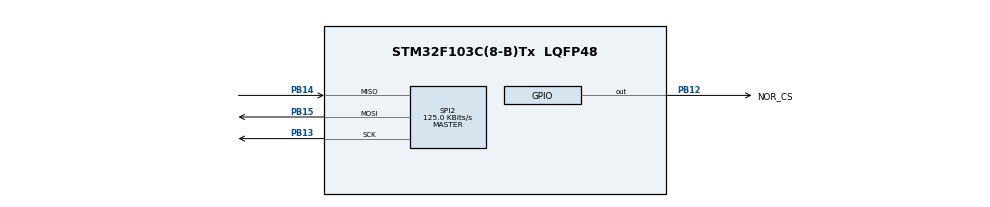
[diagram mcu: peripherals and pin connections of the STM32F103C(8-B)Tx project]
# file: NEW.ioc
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Mcu.Family=STM32F1
Mcu.Name=STM32F103C(8-B)Tx
Mcu.Package=LQFP48
NVIC.PriorityGroup=NVIC_PRIORITYGROUP_4
PA5.Signal=SPI1_SCK
PA6.Signal=SPI1_MISO
PB12.GPIO_Label=NOR_CS
PB12.Signal=GPIO_Output
PB13.Mode=Full_Duplex_Master
PB13.Signal=SPI2_SCK
PB14.Mode=Full_Duplex_Master
PB14.Signal=SPI2_MISO
PB15.Mode=Full_Duplex_Master
PB15.Signal=SPI2_MOSI
ProjectManager.HeapSize=0x100
ProjectManager.StackSize=0x100
ProjectManager.TargetToolchain=MDK-ARM V5.32
RCC.AHBFreq_Value=8000000
RCC.APB1Freq_Value=8000000
RCC.APB1TimFreq_Value=8000000
RCC.APB2Freq_Value=8000000
RCC.APB2TimFreq_Value=8000000
RCC.HCLKFreq_Value=8000000
RCC.PLLMUL=RCC_PLL_MUL12
RCC.RCC_MCOSource=RCC_MCO1SOURCE_PLLCLK
RCC.SYSCLKFreq_VALUE=8000000
RCC.USBFreq_Value=48000000
SPI2.BaudRatePrescaler=SPI_BAUDRATEPRESCALER_64
SPI2.CalculateBaudRate=125.0 KBits/s
SPI2.Direction=SPI_DIRECTION_2LINES
SPI2.Mode=SPI_MODE_MASTER
SPI2.VirtualType=VM_MASTER
VP_SYS_VS_ND.Mode=No_Debug
board=custom

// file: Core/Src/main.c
/* USER CODE BEGIN Header */
/**
  ******************************************************************************
  * @file           : main.c
  * @brief          : Main program body
  ******************************************************************************
  * @attention
  *
  * Copyright (c) 2023 STMicroelectronics.
  * All rights reserved.
  *
  * This software is licensed under terms that can be found in the LICENSE file
  * in the root directory of this software component.
  * If no LICENSE file comes with this software, it is provided AS-IS.
  *
  ******************************************************************************
  */
/* USER CODE END Header */
#include "main.h"

/* USER CODE BEGIN Includes */
#include "string.h"
#include "flash.h"
/* USER CODE END Includes */

/* USER CODE BEGIN PTD */
typedef enum { FAILED = 0, PASSED = !FAILED} TestStatus;
typedef void(*pFunction)(void);
void jump_to_start(void);
/* USER CODE END PTD */

/* USER CODE BEGIN PD */
#define WriteEnable             0x06
#define WtiteDisable            0x04
#define Read_JedecID            0x9f
#define Read_UniqueID           0x4b
#define Read_ManufatureID       0x90
#define Read_DeviceID           0xab
#define Read_StatusRegister_1   0x05
#define Read_StatusRegister_2   0x35
#define Read_StatusRegister_3   0x15
#define Write_StatusRegister    0x01
#define Write_StatusRegister_1  0x01
#define Write_StatusRegister_2  0x31
#define Write_StatusRegister_3  0x11
#define PageProgram             0x02
#define PageProgram_256         0x12
#define ReadData                0x03
#define FastRead                0x0b
#define FastRead_256            0x0c
#define Erase_Chip              0xc7
#define Erase_Block_64_256      0xdc
#define Erase_Block_64          0xd8
#define Erase_Block_32          0x52
#define Erase_Sector            0x20
#define Erase_Sector_256        0x21
#define Erase_Suspend           0x75
#define Erase_Resume            0x7h
#define PowerDown               0xb9
#define PowerDown_Release       0xab
#define Reset_Enable						0x66
#define Reset_Device						0x99
#define Global_Unlock						0x98
#define SR_Unlock								0x50

#define SPI_CS_PIN  						LL_GPIO_PIN_12
#define SPI_CS_PORT 						GPIOB
#define SPI_HANDLE 							SPI2
#define SPI_TIMEOUT 						1000
#define SPI_RETRY   						10

#define W25qxx_Delay(delay) 		LL_mDelay(delay)
#define w25qxx_SectorSize				0x1000  // 4096
#define w25qxx_PageSize     		0x0100  // 256
#define settings_sector					1

#define FLASH_PAGE_SIZE								1024
#define FLASH_Base_Address						0x8000000												// Bootloader start address
#define Main_Program_Base_Address   	FLASH_Base_Address + 0x00001000 // after 4KB for bootloader space
#define Main_Program_End_Address			FLASH_Base_Address + 0x00010000 // after 64KB flash size for STM32F103C8
#define ApplicationAddress    				Main_Program_Base_Address
/* USER CODE END PD */

/* USER CODE BEGIN PV */
pFunction Jump_To_Application;
uint32_t  JumpAddress;
uint32_t  app_new_size=0;
uint32_t  app_new_checksum=0;
uint8_t 	w25qxx_Lock = 0;
uint8_t 	dataBuffer[w25qxx_SectorSize]; //4096 Byte Buffer
uint32_t  current_sector=0;
uint32_t  current_base_byte=0;
uint32_t  current_byte=0;
uint32_t  current_range_byte=0;
uint32_t  crc32=0;
/* USER CODE END PV */

void SystemClock_Config(void);
static void MX_GPIO_Init(void);
static void MX_SPI2_Init(void);
/* USER CODE BEGIN PFP */
int W25qxx_Init(void);
void W25qxx_ReadPage(uint8_t *pBuffer, uint32_t Page_Address, uint32_t OffsetInByte, uint32_t NumByteToRead_up_to_PageSize);
void W25qxx_ReadSector(uint8_t *pBuffer, uint32_t Sector_Address, uint32_t OffsetInByte, uint32_t NumByteToRead_up_to_SectorSize);
/* USER CODE END PFP */

/* USER CODE BEGIN 0 */
uint32_t CalculateCRC32(uint32_t* inputData, uint32_t size)
{
	// CRC32 format is similar to CRC-32/MPEG-2
	// STM32F1 just do CRC32 without any polynomial settings
	// size must be : sizeof(inputData)/sizeof(uint32_t)
	uint32_t crcValue;
	///////////////Enable Hardware CRC unit//////////////////
  // Enable CRC clock
  LL_AHB1_GRP1_EnableClock(LL_AHB1_GRP1_PERIPH_CRC);
  // Reset CRC calculation unit
  LL_CRC_ResetCRCCalculationUnit(CRC);
  // Calculate CRC for the input data
  for (int i = 0; i < size; i++)
  {
    LL_CRC_FeedData32(CRC,inputData[i]);
  }
  // Get the calculated CRC value
  crcValue = LL_CRC_ReadData32(CRC);
	///////////////Disable Hardware CRC unit//////////////////
	LL_AHB1_GRP1_DisableClock(LL_AHB1_GRP1_PERIPH_CRC);

	return crcValue;
}

/* USER CODE END 0 */

int main(void)
{
  /* USER CODE BEGIN 1 */
	uint32_t tmp32;
	uint32_t crc32;
	uint32_t sectors;
	uint32_t Flash_Address;
	int i;
  /* USER CODE END 1 */

  /* MCU Configuration--------------------------------------------------------*/

  /* Reset of all peripherals, Initializes the Flash interface and the Systick. */
  LL_APB2_GRP1_EnableClock(LL_APB2_GRP1_PERIPH_AFIO);
  LL_APB1_GRP1_EnableClock(LL_APB1_GRP1_PERIPH_PWR);

  /* System interrupt init*/
  NVIC_SetPriorityGrouping(NVIC_PRIORITYGROUP_4);

  /* SysTick_IRQn interrupt configuration */
  NVIC_SetPriority(SysTick_IRQn, NVIC_EncodePriority(NVIC_GetPriorityGrouping(),15, 0));

  /** DISABLE: JTAG-DP Disabled and SW-DP Disabled
  */
  //LL_GPIO_AF_DisableRemap_SWJ();

  /* Configure the system clock */
  SystemClock_Config();

  /* Initialize all configured peripherals */
  MX_GPIO_Init();
  MX_SPI2_Init();
	LL_SPI_Enable(SPI_HANDLE);
  /* USER CODE BEGIN 2 */

	if(W25qxx_Init()== 1)
	{
		W25qxx_ReadSector(dataBuffer,settings_sector,0,w25qxx_PageSize);
		memcpy(&app_new_checksum,&dataBuffer[252],4); // check end double words of first page for new checksu
		//check checksum is not 0xFFFFFFFF to do not update again if it set high
		//if update finished , main program will set this bytes at first to prevent updating again
		if(app_new_checksum!=0xFFFFFFFF)
		{
			//read new firmware size
			memcpy(&app_new_size,&dataBuffer[248],4);
			//check size is valid
			if(app_new_size > 0 && app_new_size != 0xFFFFFFFF)
			{
				//calculate how many 4KB sectors to read
				sectors = (app_new_size / 4096);
				if(app_new_size%4096>0){sectors++;}
				sectors = sectors + 2; // add sector offset
				//

				//Enable & Reset CRC
				LL_AHB1_GRP1_EnableClock(LL_AHB1_GRP1_PERIPH_CRC);
				LL_CRC_ResetCRCCalculationUnit(CRC);

				for(tmp32 = 2;tmp32 < sectors;tmp32++)
				{
						//Read 4KB Sector
						W25qxx_ReadSector(dataBuffer,sectors,0,w25qxx_SectorSize);

						//calculate CRC
					  for (i = 0; i < sizeof(dataBuffer) / sizeof(uint32_t); i++)
						{
							LL_CRC_FeedData32(CRC,dataBuffer[i]);
						}
				}

				// Get the calculated CRC value
				crc32 = LL_CRC_ReadData32(CRC);
				///////////////Disable Hardware CRC unit//////////////////
				LL_AHB1_GRP1_DisableClock(LL_AHB1_GRP1_PERIPH_CRC);

				//compare calculated CRC with saved CRC in Settings Sector
				if(crc32 == app_new_checksum)
				{
					//Unlock the FLASH
					FEE_Init();

					//Erase the FLASH
					FLASH_Erase(Main_Program_Base_Address,Main_Program_End_Address);

					//do update with 1KB pages
					Flash_Address = Main_Program_Base_Address;
					for(tmp32 = 2;tmp32 < sectors;tmp32++)
					{
							//Read 4KB Sector
							W25qxx_ReadSector(dataBuffer,sectors,0,w25qxx_SectorSize);

							//Write on the Flash
							for (i = 0; i < 4; i++)
							{
								Flash_WriteMultiple(dataBuffer,Flash_Address,&dataBuffer[(i*1024)],1024);
								//check for exit in case of reach to firmware size
								Flash_Address+= 1024;
								if((Flash_Address-Main_Program_Base_Address) >= app_new_size)
								{
									tmp32 = sectors + 1; // make a condition to exit first for loop
									break;
								}
							}
					}

					//Lock the Flash
					FLASH_Locked();
				}
			}
		}
	}

	// Jump into main code
	jump_to_start();

  /* USER CODE END 2 */

  /* Infinite loop */
  while (1)
  {

  }
}

void SystemClock_Config(void)
{
  LL_FLASH_SetLatency(LL_FLASH_LATENCY_0);
  while(LL_FLASH_GetLatency()!= LL_FLASH_LATENCY_0)
  {
  }
  LL_RCC_HSI_SetCalibTrimming(16);
  LL_RCC_HSI_Enable();

   /* Wait till HSI is ready */
  while(LL_RCC_HSI_IsReady() != 1)
  {

  }
  LL_RCC_SetAHBPrescaler(LL_RCC_SYSCLK_DIV_1);
  LL_RCC_SetAPB1Prescaler(LL_RCC_APB1_DIV_1);
  LL_RCC_SetAPB2Prescaler(LL_RCC_APB2_DIV_1);
  LL_RCC_SetSysClkSource(LL_RCC_SYS_CLKSOURCE_HSI);

   /* Wait till System clock is ready */
  while(LL_RCC_GetSysClkSource() != LL_RCC_SYS_CLKSOURCE_STATUS_HSI)
  {

  }
  LL_Init1msTick(8000000);
  LL_SetSystemCoreClock(8000000);
}

static void MX_SPI2_Init(void)
{

  LL_SPI_InitTypeDef SPI_InitStruct = {0};

  LL_GPIO_InitTypeDef GPIO_InitStruct = {0};

  /* Peripheral clock enable */
  LL_APB1_GRP1_EnableClock(LL_APB1_GRP1_PERIPH_SPI2);

  LL_APB2_GRP1_EnableClock(LL_APB2_GRP1_PERIPH_GPIOB);
  /**SPI2 GPIO Configuration
  PB13   ------> SPI2_SCK
  PB14   ------> SPI2_MISO
  PB15   ------> SPI2_MOSI
  */
  GPIO_InitStruct.Pin = LL_GPIO_PIN_13|LL_GPIO_PIN_15;
  GPIO_InitStruct.Mode = LL_GPIO_MODE_ALTERNATE;
  GPIO_InitStruct.Speed = LL_GPIO_SPEED_FREQ_HIGH;
  GPIO_InitStruct.OutputType = LL_GPIO_OUTPUT_PUSHPULL;
  LL_GPIO_Init(GPIOB, &GPIO_InitStruct);

  GPIO_InitStruct.Pin = LL_GPIO_PIN_14;
  GPIO_InitStruct.Mode = LL_GPIO_MODE_FLOATING;
  LL_GPIO_Init(GPIOB, &GPIO_InitStruct);

  /* SPI2 parameter configuration*/
  SPI_InitStruct.TransferDirection = LL_SPI_FULL_DUPLEX;
  SPI_InitStruct.Mode = LL_SPI_MODE_MASTER;
  SPI_InitStruct.DataWidth = LL_SPI_DATAWIDTH_8BIT;
  SPI_InitStruct.ClockPolarity = LL_SPI_POLARITY_LOW;
  SPI_InitStruct.ClockPhase = LL_SPI_PHASE_1EDGE;
  SPI_InitStruct.NSS = LL_SPI_NSS_SOFT;
  SPI_InitStruct.BaudRate = LL_SPI_BAUDRATEPRESCALER_DIV64;
  SPI_InitStruct.BitOrder = LL_SPI_MSB_FIRST;
  SPI_InitStruct.CRCCalculation = LL_SPI_CRCCALCULATION_DISABLE;
  SPI_InitStruct.CRCPoly = 10;
  LL_SPI_Init(SPI2, &SPI_InitStruct);

}

static void MX_GPIO_Init(void)
{
  LL_GPIO_InitTypeDef GPIO_InitStruct = {0};

  /* GPIO Ports Clock Enable */
  LL_APB2_GRP1_EnableClock(LL_APB2_GRP1_PERIPH_GPIOA);
  LL_APB2_GRP1_EnableClock(LL_APB2_GRP1_PERIPH_GPIOB);

  /**/
  LL_GPIO_ResetOutputPin(NOR_CS_GPIO_Port, NOR_CS_Pin);

  /**/
  GPIO_InitStruct.Pin = LL_GPIO_PIN_5|LL_GPIO_PIN_6;
  GPIO_InitStruct.Mode = LL_GPIO_MODE_ALTERNATE;
  GPIO_InitStruct.Speed = LL_GPIO_SPEED_FREQ_HIGH;
  GPIO_InitStruct.OutputType = LL_GPIO_OUTPUT_PUSHPULL;
  LL_GPIO_Init(GPIOA, &GPIO_InitStruct);

  /**/
  GPIO_InitStruct.Pin = NOR_CS_Pin;
  GPIO_InitStruct.Mode = LL_GPIO_MODE_OUTPUT;
  GPIO_InitStruct.Speed = LL_GPIO_SPEED_FREQ_LOW;
  GPIO_InitStruct.OutputType = LL_GPIO_OUTPUT_PUSHPULL;
  LL_GPIO_Init(NOR_CS_GPIO_Port, &GPIO_InitStruct);

}

/* USER CODE BEGIN 4 */

void jump_to_start(void)
{

	// If Program has been written
	if (((*(__IO uint32_t*)ApplicationAddress) & 0x2FFE0000 ) == 0x20000000)
		{

			//Make sure, the CPU is in privileged mode.
			//if( CONTROL_nPRIV_Msk & __get_CONTROL( ) )
			//{  // not in privileged mode
			//	EnablePrivilegedMode();
			//}
			//Disable all enabled interrupts in NVIC.

			NVIC->ICER[ 0 ] = 0xFFFFFFFF ;
			NVIC->ICER[ 1 ] = 0xFFFFFFFF ;
			NVIC->ICER[ 2 ] = 0xFFFFFFFF ;
			NVIC->ICER[ 3 ] = 0xFFFFFFFF ;
			NVIC->ICER[ 4 ] = 0xFFFFFFFF ;
			NVIC->ICER[ 5 ] = 0xFFFFFFFF ;
			NVIC->ICER[ 6 ] = 0xFFFFFFFF ;
			NVIC->ICER[ 7 ] = 0xFFFFFFFF ;

			//Clear all pending interrupt requests in NVIC.

			NVIC->ICPR[ 0 ] = 0xFFFFFFFF ;
			NVIC->ICPR[ 1 ] = 0xFFFFFFFF ;
			NVIC->ICPR[ 2 ] = 0xFFFFFFFF ;
			NVIC->ICPR[ 3 ] = 0xFFFFFFFF ;
			NVIC->ICPR[ 4 ] = 0xFFFFFFFF ;
			NVIC->ICPR[ 5 ] = 0xFFFFFFFF ;
			NVIC->ICPR[ 6 ] = 0xFFFFFFFF ;
			NVIC->ICPR[ 7 ] = 0xFFFFFFFF ;

			//Disable SysTick and clear its exception pending bit,

			//__disable_irq();//EEEEERRRRRRROOOORRRR
			//__DSB();//EEEEERRRRRRROOOORRRR
			//__ISB();//EEEEERRRRRRROOOORRRR

			SysTick->CTRL=0;
			SysTick->LOAD=0;
			SysTick->VAL=0;
			///////////////////////__set_PRIMASK(1);/////////////////////////////EEEEERRRRRRROOOORRRR

			SCB->ICSR |= SCB_ICSR_PENDSTCLR_Msk;

			//Disable individual fault handlers if the bootloader used them.
			SCB->SHCSR &= ~( SCB_SHCSR_USGFAULTENA_Msk | SCB_SHCSR_BUSFAULTENA_Msk | SCB_SHCSR_MEMFAULTENA_Msk );
			//Activate the MSP, if the core is found to currently run with the PSP.
			if(CONTROL_SPSEL_Msk& __get_CONTROL())
			{  // MSP is not active
				__set_CONTROL( __get_CONTROL( ) & ~CONTROL_SPSEL_Msk );
			}

			//RCC_APB2PeriphClockCmd(RCC_APB2Periph_GPIOC, DISABLE);

			// Set system control register SCR->VTOR
			//SCB->VTOR = NVIC_VectTab_FLASH | ((ApplicationAddress & 0x0000FFFF) & (uint32_t)0x1FFFFF80);

			SCB->VTOR = ApplicationAddress & 0xFFFF;//check this

			//__DSB();
			//__ISB();

			__set_MSP(*(__IO uint32_t*) ApplicationAddress);

			Jump_To_Application = (void (*)(void)) (*((uint32_t *) ((ApplicationAddress + 4))));
			Jump_To_Application();
		}
}

//###################### W25QXX NOR READ FUNCTIONS ############################################################################
int SPI_TRANSFER(uint8_t __command,uint8_t *__result)
{
	static uint16_t timeout=0;

	LL_SPI_TransmitData8(SPI_HANDLE, __command);
	while (!LL_SPI_IsActiveFlag_TXE(SPI_HANDLE))
	{
		timeout++;
		if(timeout>=SPI_TIMEOUT){return -1;}
	}

	*__result = LL_SPI_ReceiveData8(SPI_HANDLE);
	timeout = 0;
  while (!LL_SPI_IsActiveFlag_RXNE(SPI_HANDLE))
	{
		timeout++;
		if(timeout>=SPI_TIMEOUT){return -1;}
	}

	*__result = LL_SPI_ReceiveData8(SPI_HANDLE);
	return 0;
}

int W25Qxx_MultiByteReadSPI(uint8_t *buffer,uint32_t bytes, uint32_t offset, uint8_t command) {
    uint16_t timeout = 0;
		// Send Read command if needed
		if (command == Read_UniqueID || command == Read_JedecID) {
				LL_SPI_TransmitData8(SPI_HANDLE, command);
				timeout = 0;
				while (!LL_SPI_IsActiveFlag_TXE(SPI_HANDLE)) {
						timeout++;
						if (timeout >= SPI_TIMEOUT) {
								// Return an appropriate error code or handle the timeout error
								return -1;
						}
				}
		}

		// Receive data bytes using SPI
		for (uint32_t i = 0; i < bytes; i++) {
				LL_SPI_TransmitData8(SPI_HANDLE, 0x00);
				timeout = 0;
				while (!LL_SPI_IsActiveFlag_TXE(SPI_HANDLE)) {
						timeout++;
						if (timeout >= SPI_TIMEOUT) {
								// Return an appropriate error code or handle the timeout error
								return -1;
						}
				}

				timeout = 0;
				while (!LL_SPI_IsActiveFlag_RXNE(SPI_HANDLE)) {
						timeout++;
						if (timeout >= SPI_TIMEOUT) {
								// Return an appropriate error code or handle the timeout error
								return -1;
						}
				}

				buffer[offset + i] = LL_SPI_ReceiveData8(SPI_HANDLE);
		}

    // Wait for the SPI transmission to complete
    timeout = 0;
    while (LL_SPI_IsActiveFlag_BSY(SPI_HANDLE)) {
        timeout++;
        if (timeout >= SPI_TIMEOUT) {
            // Return an appropriate error code or handle the timeout error
            return -1;
        }
    }

    return 0;
}

int W25Qxx_ReadSPI(uint8_t command,uint8_t *buffer, int32_t address, uint16_t bytes, uint32_t offset)
{
    int result = 0;
    uint8_t spiResponse = 0;

    LL_GPIO_ResetOutputPin(SPI_CS_PORT, SPI_CS_PIN);

    result = SPI_TRANSFER(command, &spiResponse);
    if (result == -1)
    {
        LL_GPIO_SetOutputPin(SPI_CS_PORT, SPI_CS_PIN);
        return -1; // Timeout Error
    }

    if (address >= 0)
    {
        for (int i = 3; i > 0; i--)
        {
            result = SPI_TRANSFER((address >> (8 * i)) & 0xFF, &spiResponse);
            if (result == -1)
            {
                LL_GPIO_SetOutputPin(SPI_CS_PORT, SPI_CS_PIN);
                return -1; // Timeout Error
            }
        }
    }

    if (command == FastRead)
    {
        for (int i = 1; i > 0; i--)
        {
            result = SPI_TRANSFER(0, &spiResponse);
            if (result == -1)
            {
                LL_GPIO_SetOutputPin(SPI_CS_PORT, SPI_CS_PIN);
                return -1; // Timeout Error
            }
        }
    }

    if (bytes > 1)
    {
				#ifdef W25QXX_USE_DMA
        result = W25Qxx_TransferDMASPI(buffer, bytes, dir, offset, command);
				#else
				result = W25Qxx_MultiByteReadSPI(buffer,bytes, offset, command);
				#endif

        if (result == -1)
        {
            LL_GPIO_SetOutputPin(SPI_CS_PORT, SPI_CS_PIN);
            return -1; // Timeout Error
        }
    }
    else if (bytes == 1)
    {
        result = SPI_TRANSFER(buffer[0], &spiResponse);
        if (result == -1)
        {
            LL_GPIO_SetOutputPin(SPI_CS_PORT, SPI_CS_PIN);
            return -1; // Timeout Error
        }
    }

    LL_GPIO_SetOutputPin(SPI_CS_PORT, SPI_CS_PIN);
    return spiResponse;
}

uint32_t W25qxx_ReadID(void)
{
	static int result,retry;
	uint32_t Temp = 0xFFFFFFFF;
	while(retry<SPI_RETRY)
	{
		retry++;
		result = W25Qxx_ReadSPI(Read_JedecID,dataBuffer,-1,4,0);
		if(result != -1)
		{
			Temp = (dataBuffer[0] << 16) | (dataBuffer[1] << 8) | dataBuffer[2];
			break;
		}
		W25qxx_Delay(1);
	}
	return Temp;
}

int W25qxx_Init(void)
{
	w25qxx_Lock = 1;

	LL_GPIO_SetOutputPin(SPI_CS_PORT, SPI_CS_PIN);
	W25qxx_Delay(1);

	if(W25qxx_ReadID() == 0xFFFFFFFF) // W25Q64 No responded
	{
			w25qxx_Lock = 0;
			return 0;
	}
	w25qxx_Lock = 0;
	return 1;
}

void W25qxx_WaitForWriteEnd(void)
{
	int result,retry;
	do
	{
		retry = 0;
		while(retry<SPI_RETRY)
		{
			retry++;
			result = W25Qxx_ReadSPI(Read_StatusRegister_1,dataBuffer,-1,1,0);
			if(result!=-1){break;}
		}
		//W25qxx_Delay(100);
	} while ((result & 0x01) == 0x01);
}

uint32_t W25qxx_SectorToPage(uint32_t SectorAddress)
{
	return (SectorAddress * w25qxx_SectorSize) / w25qxx_PageSize;
}

void W25qxx_ReadPage(uint8_t *pBuffer, uint32_t Page_Address, uint32_t OffsetInByte, uint32_t NumByteToRead_up_to_PageSize)
{
	while (w25qxx_Lock == 1)
	W25qxx_Delay(1);
	w25qxx_Lock = 1;
	if ((NumByteToRead_up_to_PageSize > w25qxx_PageSize) || (NumByteToRead_up_to_PageSize == 0))
		NumByteToRead_up_to_PageSize = w25qxx_PageSize;
	if ((OffsetInByte + NumByteToRead_up_to_PageSize) > w25qxx_PageSize)
		NumByteToRead_up_to_PageSize = w25qxx_PageSize - OffsetInByte;

	W25qxx_WaitForWriteEnd();
	Page_Address = Page_Address * w25qxx_PageSize + OffsetInByte;
	W25Qxx_ReadSPI(FastRead,pBuffer,Page_Address,NumByteToRead_up_to_PageSize,0);

	w25qxx_Lock = 0;
}

void W25qxx_ReadSector(uint8_t *pBuffer, uint32_t Sector_Address, uint32_t OffsetInByte, uint32_t NumByteToRead_up_to_SectorSize)
{
	if ((NumByteToRead_up_to_SectorSize > w25qxx_SectorSize) || (NumByteToRead_up_to_SectorSize == 0))
		NumByteToRead_up_to_SectorSize = w25qxx_SectorSize;

	if (OffsetInByte >= w25qxx_SectorSize)
	{
		return;
	}

	uint32_t StartPage;
	int32_t BytesToRead;
	uint32_t LocalOffset;
	if ((OffsetInByte + NumByteToRead_up_to_SectorSize) > w25qxx_SectorSize)
		BytesToRead = w25qxx_SectorSize - OffsetInByte;
	else
		BytesToRead = NumByteToRead_up_to_SectorSize;
	StartPage = W25qxx_SectorToPage(Sector_Address) + (OffsetInByte / w25qxx_PageSize);
	LocalOffset = OffsetInByte % w25qxx_PageSize;
	do
	{
		W25qxx_ReadPage(pBuffer, StartPage, LocalOffset, w25qxx_PageSize);//BytesToRead);
		StartPage++;
		BytesToRead -= w25qxx_PageSize - LocalOffset;
		pBuffer += w25qxx_PageSize - LocalOffset;
		LocalOffset = 0;
	} while (BytesToRead > 0);
}
/* USER CODE END 4 */

void Error_Handler(void)
{
  __disable_irq();
  while (1)
  {
  }
}
